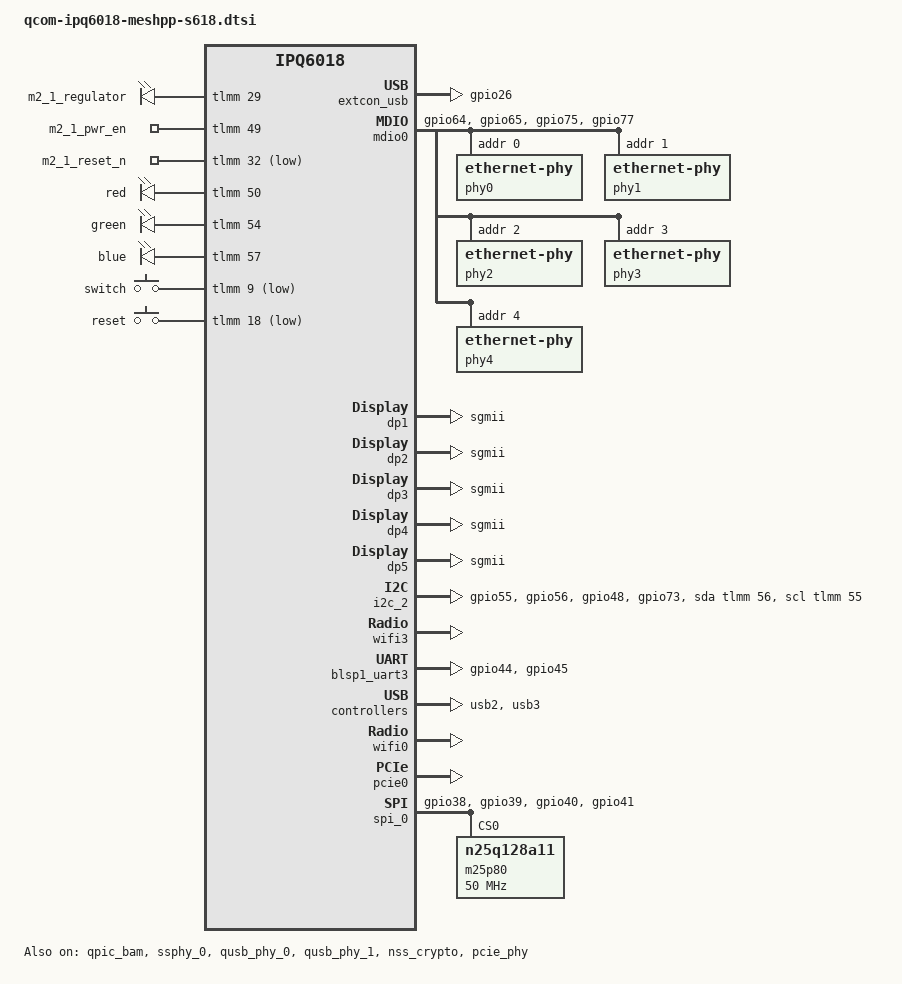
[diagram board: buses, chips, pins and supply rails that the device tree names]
/*
 * Copyright (c) 2022, The Linux Foundation. All rights reserved.
 *
 * Permission to use, copy, modify, and/or distribute this software for any
 * purpose with or without fee is hereby granted, provided that the above
 * copyright notice and this permission notice appear in all copies.
 *
 * THE SOFTWARE IS PROVIDED "AS IS" AND THE AUTHOR DISCLAIMS ALL WARRANTIES
 * WITH REGARD TO THIS SOFTWARE INCLUDING ALL IMPLIED WARRANTIES OF
 * MERCHANTABILITY AND FITNESS. IN NO EVENT SHALL THE AUTHOR BE LIABLE FOR
 * ANY SPECIAL, DIRECT, INDIRECT, OR CONSEQUENTIAL DAMAGES OR ANY DAMAGES
 * WHATSOEVER RESULTING FROM LOSS OF USE, DATA OR PROFITS, WHETHER IN AN
 * ACTION OF CONTRACT, NEGLIGENCE OR OTHER TORTIOUS ACTION, ARISING OUT OF
 * OR IN CONNECTION WITH THE USE OR PERFORMANCE OF THIS SOFTWARE.
 */

#include "qcom-ipq6018.dtsi"
#include <dt-bindings/input/input.h>

/ {
	#address-cells = <0x2>;
	#size-cells = <0x2>;
	interrupt-parent = <&intc>;
	qcom,msm-id = <0x1A5 0x0>;

	aliases {
		ethernet0 = "/soc/dp1";
		ethernet1 = "/soc/dp2";
		ethernet2 = "/soc/dp3";
		ethernet3 = "/soc/dp4";
		ethernet4 = "/soc/dp5";

		led-boot = &led_green;
		led-running = &led_blue;
		led-upgrade = &led_red;
	};

	chosen {
		bootargs = "console=ttyMSM0,115200,n8 rw init=/init";

#ifdef __IPQ_MEM_PROFILE_256_MB__
                bootargs-append = " console=ttyMSM0,115200n8 panic=10 ubi.mtd=nand root=mtd:ubi_rootfs rootfstype=squashfs swiotlb=1 rootwait";
#else
                bootargs-append = " console=ttyMSM0,115200n8 panic=10 ubi.mtd=nand root=mtd:ubi_rootfs rootfstype=squashfs swiotlb=1 coherent_pool=2M rootwait";
#endif
	};


	/*
	 * +=========+==============+========================+
	 * |        |              |                         |
	 * | Region | Start Offset |          Size           |
	 * |        |              |                         |
	 * +--------+--------------+-------------------------+
	 * |        |              |                         |
	 * |        |              |                         |
	 * |        |              |                         |
	 * |        |              |                         |
	 * | Linux  |  0x41000000  |         139MB           |
	 * |        |              |                         |
	 * |        |              |                         |
	 * |        |              |                         |
	 * +--------+--------------+-------------------------+
	 * | TZ App |  0x49B00000  |           6MB           |
	 * +--------+--------------+-------------------------+
	 *
	 * From the available 145 MB for Linux in the first 256 MB,
	 * we are reserving 6 MB for TZAPP.
	 *
	 * Refer arch/arm64/boot/dts/qcom/qcom-ipq6018-memory.dtsi
	 * for memory layout.
	 */

/* TZAPP is enabled only in default memory profile */
	reserved-memory {
#if !defined(__IPQ_MEM_PROFILE_256_MB__) && !defined(__IPQ_MEM_PROFILE_512_MB__)
		tzapp:tzapp@49B00000 {	/* TZAPPS */
			no-map;
			reg = <0x0 0x49B00000 0x0 0x00600000>;
		};
#endif
		qcn9000_pcie0@50200000 {
			no-map;
			reg = <0x0 0x50200000 0x0 0x03700000>;
		};

		mhi_region0: dma_pool0@53900000 {
			compatible = "shared-dma-pool";
			no-map;
			reg = <0x0 0x53900000 0x0 0x01800000>;
		};
	};
};

&tlmm {
	pinctrl-0 = <&sd_ldo_pins &generic_gpios &pcie_pins>;
	pinctrl-names = "default";

	uart_pins: uart_pins {
		mux {
			pins = "gpio44", "gpio45";
			function = "blsp2_uart";
			drive-strength = <8>;
			bias-pull-down;
		};
	};

	sd_ldo_pins: sd_ldo_pins {
		mux {
			pins = "gpio66";
			function = "gpio";
			drive-strength = <2>;
			bias-disable;
			output-low;
		};
	};

	spi_0_pins: spi_0_pins {
		mux {
			pins = "gpio38", "gpio39", "gpio40", "gpio41";
			function = "blsp0_spi";
			drive-strength = <8>;
			bias-pull-down;
		};
	};

	spi_1_pins: spi_1_pins {
		mux {
			pins = "gpio69", "gpio71", "gpio72";
			function = "blsp1_spi";
			drive-strength = <8>;
			bias-pull-down;
		};
		spi_cs {
			pins = "gpio70";
			function = "blsp1_spi";
			drive-strength = <8>;
			bias-disable;
		};
		quartz_interrupt {
			pins = "gpio78";
			function = "gpio";
			input;
			bias-disable;
		};
		quartz_reset {
			pins = "gpio79";
			function = "gpio";
			output-low;
			bias-disable;
		};
	};

	button_pins: button_pins {
		switch_button {
			pins = "gpio9";
			function = "gpio";
			drive-strength = <8>;
			bias-pull-up;
		};
		reset_button {
			pins = "gpio19";
			function = "gpio";
			drive-strength = <8>;
			bias-pull-up;
		};
	};

	mdio_pins: mdio_pinmux {
		mux_0 {
			pins = "gpio64";
			function = "mdc";
			drive-strength = <8>;
			bias-pull-up;
		};
		mux_1 {
			pins = "gpio65";
			function = "mdio";
			drive-strength = <8>;
			bias-pull-up;
		};
		mux_2 {
			pins = "gpio75";
			function = "gpio";
			bias-pull-up;
		};
		mux_3 {
			pins = "gpio77";
			function = "gpio";
			bias-pull-up;
		};
	};

	leds_pins: leds_pins {
		led_5g {
			pins = "gpio35";
			function = "gpio";
			drive-strength = <8>;
			bias-pull-down;
		};
		led_2g {
			pins = "gpio37";
			function = "gpio";
			drive-strength = <8>;
			bias-pull-down;
		};

		m2_1_regulator {
			pins = "gpio29";
			function = "gpio";
			drive-strength = <8>;
			bias-pull-down;
		};

		m2_1_pwr_en {
			pins = "gpio49";
			function = "gpio";
			drive-strength = <8>;
			bias-pull-down;
		};

		m2_1_reset_n {
			pins = "gpio32";
			function = "gpio";
			drive-strength = <8>;
			bias-pull-down;
		};

		led_red: red {
			pins = "gpio50";
			function = "gpio";
			drive-strength = <8>;
			bias-pull-down;
		};

		led_green: green {
			pins = "gpio54";
			function = "gpio";
			drive-strength = <8>;
			bias-pull-down;
		};

		led_blue: blue {
			pins = "gpio57";
			function = "gpio";
			drive-strength = <8>;
			bias-pull-down;
		};
	};

	sd_pins: sd_pins {
		mux_1 {
			pins = "gpio62";
			function = "sd_card";
			drive-strength = <8>;
			bias-pull-up;
		};

		mux_2 {
			pins = "gpio23";
			function = "gpio";
			drive_strength = <8>;
			bias-disable;
			output-high;
		};
	};

	extcon_usb_pins: extcon_usb_pins {
		mux {
			pins = "gpio26";
			function = "gpio";
			drive-strength = <2>;
			bias-pull-down;
		};
	};

	generic_gpios: generic_gpios {
		gpio42 {
			pins = "gpio42";
			function = "gpio";
			drive-strength = <8>;
			bias-disable;
			output-high;
		};
	};

	pcie_pins: pcie_pins {
		pcie0_enable {
			pins = "gpio34";
			function = "gpio";
			drive-strength = <8>;
			bias-disable;
			output-high;
		};
	};

        i2c_2_pins: i2c_2_pins {
                mux {
                        pins = "gpio55", "gpio56";
                        function = "gpio";
                        drive-strength = <16>;
                        bias-pull-up;
                        input-enable;
                };

                mux_2 {
                        pins = "gpio48";
                        function = "gpio";
                        drive_strength = <16>;
                        output-high;
                };

                mux_3 {
                        pins = "gpio73";
                        function = "gpio";
                        drive-stength = <16>;
                        output-low;
                };
        };
};

&soc {
	extcon_usb: extcon_usb {
		pinctrl-0 = <&extcon_usb_pins>;
		pinctrl-names = "default";
		id-gpio = <&tlmm 26 GPIO_ACTIVE_LOW>;
		status = "ok";
	};

	mdio0: mdio@90000 {
		pinctrl-0 = <&mdio_pins>;
		pinctrl-names = "default";
		phy-reset-gpio = <&tlmm 75 0 &tlmm 77 1>;
		status = "ok";
		phy0: ethernet-phy@0 {
			reg = <0>;
		};
		phy1: ethernet-phy@1 {
			reg = <1>;
		};
		phy2: ethernet-phy@2 {
			reg = <2>;
		};
                phy3: ethernet-phy@3 {
                        reg = <3>;
                };
                phy4: ethernet-phy@4 {
                        reg = <4>;
                };
	};

	ess0: ess-switch@3a000000 {
		switch_cpu_bmp = <0x1>;  /* cpu port bitmap */
		switch_lan_bmp = <0x1e>; /* lan port bitmap */
		switch_wan_bmp = <0x20>; /* wan port bitmap */
		switch_inner_bmp = <0xc0>; /*inner port bitmap*/
		switch_mac_mode = <0x0>; /* mac mode for uniphy instance0*/
		switch_mac_mode1 = <0xff>; /* mac mode for uniphy instance1*/
		switch_mac_mode2 = <0xff>; /* mac mode for uniphy instance2*/
		qcom,port_phyinfo {
			port@0 {
				port_id = <1>;
				phy_address = <0>;
			};
			port@1 {
				port_id = <2>;
				phy_address = <1>;
			};
			port@2 {
				port_id = <3>;
				phy_address = <2>;
			};
			port@3 {
				port_id = <4>;
				phy_address = <3>;
			};
			port@4 {
				port_id = <5>;
				phy_address = <4>;
			};
		};
	};

	dp1 {
		device_type = "network";
		compatible = "qcom,nss-dp";
		qcom,id = <1>;
		reg = <0x3a001000 0x200>;
		qcom,mactype = <0>;
		local-mac-address = [000000000000];
		qcom,link-poll = <1>;
		qcom,phy-mdio-addr = <0>;
		phy-mode = "sgmii";
	};

	dp2 {
		device_type = "network";
		compatible = "qcom,nss-dp";
		qcom,id = <2>;
		reg = <0x3a001200 0x200>;
		qcom,mactype = <0>;
		local-mac-address = [000000000000];
		qcom,link-poll = <1>;
		qcom,phy-mdio-addr = <1>;
		phy-mode = "sgmii";
	};

	dp3 {
		device_type = "network";
		compatible = "qcom,nss-dp";
		qcom,id = <3>;
		reg = <0x3a001400 0x200>;
		qcom,mactype = <0>;
		local-mac-address = [000000000000];
		qcom,link-poll = <1>;
		qcom,phy-mdio-addr = <2>;
		phy-mode = "sgmii";
	};

	dp4 {
		device_type = "network";
		compatible = "qcom,nss-dp";
		qcom,id = <4>;
		reg = <0x3a001600 0x200>;
		qcom,mactype = <0>;
		local-mac-address = [000000000000];
		qcom,link-poll = <1>;
		qcom,phy-mdio-addr = <3>;
		phy-mode = "sgmii";
	};

	dp5 {
		device_type = "network";
		compatible = "qcom,nss-dp";
		qcom,id = <5>;
		reg = <0x3a001800 0x200>;
		qcom,mactype = <0>;
		local-mac-address = [000000000000];
		qcom,link-poll = <1>;
		qcom,phy-mdio-addr = <4>;
		phy-mode = "sgmii";
	};

	leds {
		compatible = "gpio-leds";
		pinctrl-0 = <&leds_pins>;
		pinctrl-names = "default";

		led@29 {
			label = "m2_1_regulator";
			gpios = <&tlmm 29 GPIO_ACTIVE_HIGH>;
			linux,default-trigger = "none";
			default-state = "on";
		};

		led@49 {
			label = "m2_1_pwr_en";
			gpios = <&tlmm 49 GPIO_ACTIVE_HIGH>;
			linux,default-trigger = "none";
			default-state = "on";
		};

		led@32 {
			label = "m2_1_reset_n";
			gpios = <&tlmm 32 GPIO_ACTIVE_LOW>;
			linux,default-trigger = "none";
			default-state = "off";
		};

		led@50 {
			label = "red";
			gpios = <&tlmm 50 GPIO_ACTIVE_HIGH>;
			linux,default-trigger = "none";
			default-state = "on";
		};

		led@54 {
			label = "green";
			gpios = <&tlmm 54 GPIO_ACTIVE_HIGH>;
			linux,default-trigger = "none";
			default-state = "on";
		};

		led@57 {
			label = "blue";
			gpios = <&tlmm 57 GPIO_ACTIVE_HIGH>;
			linux,default-trigger = "none";
			default-state = "off";
		};
	};

	gpio_keys {
		compatible = "gpio-keys";
		pinctrl-0 = <&button_pins>;
		pinctrl-names = "default";

		switch {
			label = "switch";
			linux,code = <KEY_WPS_BUTTON>;
			gpios = <&tlmm 9 GPIO_ACTIVE_LOW>;
			linux,input-type = <1>;
			debounce-interval = <60>;
		};
		reset {
			label = "reset";
			linux,code = <KEY_RESTART>;
			gpios = <&tlmm 18 GPIO_ACTIVE_LOW>;
			linux,input-type = <1>;
			debounce-interval = <60>;
		};
	};

	i2c_2: i2c@0 { /* i2c gpio */
		pinctrl-0 = <&i2c_2_pins>;
	        pinctrl-names = "default";
		compatible = "i2c-gpio";
		gpios = <&tlmm 56 0>, <&tlmm 55 0>;
		i2c-gpio,scl-open-drain;
		i2c-gpio,delay-us = <7>;
		#address-cells = <1>;
		#size-cells = <0>;
		status = "ok";
	};

	wifi3: wifi3@f00000 {
		qcom,wlan-ramdump-dynamic = <0x400000>;
		mhi,max-channels = <30>;
		mhi,timeout = <10000>;
		#address-cells = <1>;
		#size-cells = <0>;
		qrtr_node_id = <0x20>;
		qca,auto-restart;
#ifdef __IPQ_MEM_PROFILE_512_MB__

	      /* QCN9000 tgt-mem-mode=1 layout - 30MB
	       * +=========+==============+=========+
	       * |  Region | Start Offset |   Size  |
	       * +---------+--------------+---------+
	       * | BASE    |  0x4E400000  |   20MB  |
	       * +---------+--------------+---------+
	       * | M3 Dump |  0x4F800000  |   1MB   |
	       * +---------+--------------+---------+
	       * |  Caldb  |  0x4FA00000  |   8MB   |
	       * +==================================+
	       */

		base-addr = <0x4E400000>;
		m3-dump-addr = <0x4F800000>;
		qcom,caldb-addr = <0x4FA00000>;
#else

	      /* QCN9000 tgt-mem-mode=0 layout - 55MB
	       * +=========+==============+=========+
	       * |  Region | Start Offset |   Size  |
	       * +---------+--------------+---------+
	       * | BASE    |  0x50200000  |   45MB  |
	       * +---------+--------------+---------+
	       * | M3 Dump |  0x52F00000  |   1MB   |
	       * +---------+--------------+---------+
	       * |  Caldb  |  0x53100000  |   8MB   |
	       * +==================================+
	       */

		base-addr = <0x50200000>;
		m3-dump-addr = <0x52F00000>;
		qcom,caldb-addr = <0x53100000>;
#endif
		status = "ok";

		mhi_channels {
			mhi_chan@0 {
				reg = <0>;
				label = "LOOPBACK";
				mhi,num-elements = <32>;
				mhi,event-ring = <1>;
				mhi,chan-dir = <1>;
				mhi,data-type = <0>;
				mhi,doorbell-mode = <2>;
				mhi,ee = <0x14>;
			};

			mhi_chan@1 {
				reg = <1>;
				label = "LOOPBACK";
				mhi,num-elements = <32>;
				mhi,event-ring = <1>;
				mhi,chan-dir = <2>;
				mhi,data-type = <0>;
				mhi,doorbell-mode = <2>;
				mhi,ee = <0x14>;
			};

			mhi_chan@4 {
				reg = <4>;
				label = "DIAG";
				mhi,num-elements = <32>;
				mhi,event-ring = <1>;
				mhi,chan-dir = <1>;
				mhi,data-type = <0>;
				mhi,doorbell-mode = <2>;
				mhi,ee = <0x14>;
			};

			mhi_chan@5 {
				reg = <5>;
				label = "DIAG";
				mhi,num-elements = <32>;
				mhi,event-ring = <1>;
				mhi,chan-dir = <2>;
				mhi,data-type = <0>;
				mhi,doorbell-mode = <2>;
				mhi,ee = <0x14>;
			};

			mhi_chan@20 {
				reg = <20>;
				label = "IPCR";
				mhi,num-elements = <32>;
				mhi,event-ring = <1>;
				mhi,chan-dir = <1>;
				mhi,data-type = <1>;
				mhi,doorbell-mode = <2>;
				mhi,ee = <0x14>;
				mhi,auto-start;
			};

			mhi_chan@21 {
				reg = <21>;
				label = "IPCR";
				mhi,num-elements = <32>;
				mhi,event-ring = <1>;
				mhi,chan-dir = <2>;
				mhi,data-type = <0>;
				mhi,doorbell-mode = <2>;
				mhi,ee = <0x14>;
				mhi,auto-queue;
				mhi,auto-start;
			};
		};

		mhi_events {
			mhi_event@0 {
				mhi,num-elements = <32>;
				mhi,intmod = <1>;
				mhi,msi = <1>;
				mhi,priority = <1>;
				mhi,brstmode = <2>;
				mhi,data-type = <1>;
			};

			mhi_event@1 {
				mhi,num-elements = <256>;
				mhi,intmod = <1>;
				mhi,msi = <2>;
				mhi,priority = <1>;
				mhi,brstmode = <2>;
			};
		};

		mhi_devices {
			mhi_qrtr {
				mhi,chan = "IPCR";
				qcom,net-id = <0>;
			};
		};
	};
};

&blsp1_uart3 {
	pinctrl-0 = <&uart_pins>;
	pinctrl-names = "default";
	status = "ok";
};

&qpic_bam {
	status = "ok";
};

&ssphy_0 {
	status = "ok";
};

&qusb_phy_0 {
	status = "ok";
};

&qusb_phy_1 {
	status = "ok";
};

&usb2 {
	status = "ok";
};

&usb3 {
	status = "ok";
};

&nss_crypto {
	status = "ok";
};

&CPU0 {
	operating-points = <
		/* kHz   uV (fixed) */
		864000   1100000
		1056000  1100000
		1200000  1100000
		1608000  1100000
	>;
	clock-latency = <200000>;
};

&CPU1 {
	operating-points = <
		/* kHz   uV (fixed) */
		864000   1100000
		1056000  1100000
		1200000  1100000
		1608000  1100000
	>;
	clock-latency = <200000>;
};

&CPU2 {
	operating-points = <
		/* kHz   uV (fixed) */
		864000   1100000
		1056000  1100000
		1200000  1100000
		1608000  1100000
	>;
	clock-latency = <200000>;
};

&CPU3 {
	operating-points = <
		/* kHz   uV (fixed) */
		864000   1100000
		1056000  1100000
		1200000  1100000
		1608000  1100000
	>;
	clock-latency = <200000>;
};

&wifi0 {
        qcom,board_id = <0x10>;
        status = "ok";
};

&pcie0 {
	status = "ok";

	pcie0_rp {
		reg = <0 0 0 0 0>;
		status = "ok";

		mhi_0: qcom,mhi@0 {
			reg = <0 0 0 0 0 >;
			qrtr_instance_id = <0x20>;
			qcom,board_id = <0xa4>;
#if !defined(__IPQ_MEM_PROFILE_256_MB__)
			memory-region = <&mhi_region0>;
#endif
		};
	};
};

&pcie_phy {
        status = "ok";
};

&spi_0 {
	pinctrl-0 = <&spi_0_pins>;
	pinctrl-names = "default";
	cs-select = <0>;
	status = "ok";

	m25p80@0 {
		#address-cells = <1>;
		#size-cells = <1>;
		reg = <0>;
		compatible = "n25q128a11";
		linux,modalias = "m25p80", "n25q128a11";
		spi-max-frequency = <50000000>;
		use-default-sizes;
	};
};
